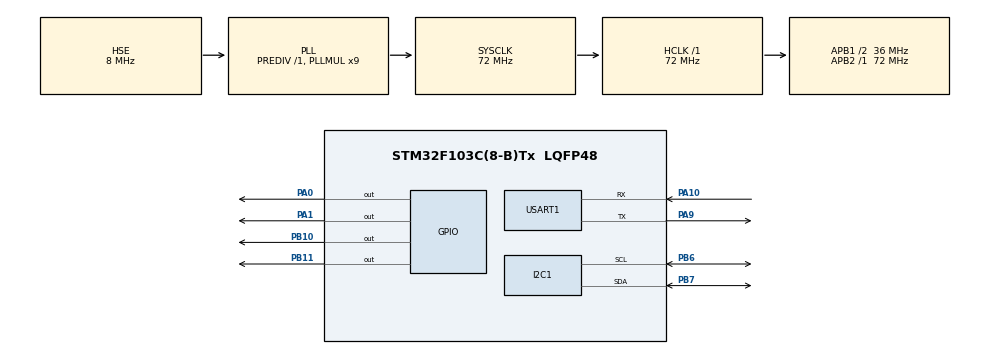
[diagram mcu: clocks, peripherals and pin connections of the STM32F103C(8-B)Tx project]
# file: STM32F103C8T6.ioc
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I2C1.I2C_Mode=I2C_Fast
Mcu.Family=STM32F1
Mcu.Name=STM32F103C(8-B)Tx
Mcu.Package=LQFP48
NVIC.PriorityGroup=NVIC_PRIORITYGROUP_4
NVIC.TIM2_IRQn=true\:0\:0\:false\:false\:true\:true\:true\:true
PA0-WKUP.GPIO_PuPd=GPIO_PULLUP
PA0-WKUP.GPIO_Speed=GPIO_SPEED_FREQ_HIGH
PA0-WKUP.Signal=GPIO_Output
PA1.GPIO_PuPd=GPIO_PULLUP
PA1.GPIO_Speed=GPIO_SPEED_FREQ_HIGH
PA1.Signal=GPIO_Output
PA10.Mode=Asynchronous
PA10.Signal=USART1_RX
PA13.Mode=Serial_Wire
PA13.Signal=SYS_JTMS-SWDIO
PA14.Mode=Serial_Wire
PA14.Signal=SYS_JTCK-SWCLK
PA9.Mode=Asynchronous
PA9.Signal=USART1_TX
PB10.GPIO_Speed=GPIO_SPEED_FREQ_HIGH
PB10.Signal=GPIO_Output
PB11.GPIO_Speed=GPIO_SPEED_FREQ_HIGH
PB11.Signal=GPIO_Output
PB6.Mode=I2C
PB6.Signal=I2C1_SCL
PB7.Mode=I2C
PB7.Signal=I2C1_SDA
PD0-OSC_IN.Mode=HSE-External-Oscillator
PD0-OSC_IN.Signal=RCC_OSC_IN
PD1-OSC_OUT.Mode=HSE-External-Oscillator
PD1-OSC_OUT.Signal=RCC_OSC_OUT
ProjectManager.HeapSize=0x200
ProjectManager.StackSize=0x400
ProjectManager.TargetToolchain=STM32CubeIDE
RCC.AHBFreq_Value=72000000
RCC.APB1CLKDivider=RCC_HCLK_DIV2
RCC.APB1Freq_Value=36000000
RCC.APB1TimFreq_Value=72000000
RCC.APB2Freq_Value=72000000
RCC.APB2TimFreq_Value=72000000
RCC.HCLKFreq_Value=72000000
RCC.PLLMUL=RCC_PLL_MUL9
RCC.PLLSourceVirtual=RCC_PLLSOURCE_HSE
RCC.SYSCLKFreq_VALUE=72000000
RCC.SYSCLKSource=RCC_SYSCLKSOURCE_PLLCLK
RCC.USBFreq_Value=72000000
TIM2.AutoReloadPreload=TIM_AUTORELOAD_PRELOAD_ENABLE
TIM2.Period=10000 - 1
TIM2.Prescaler=72-1
USART1.VirtualMode=VM_ASYNC
VP_TIM2_VS_ClockSourceINT.Mode=Internal
VP_TIM4_VS_ClockSourceINT.Mode=Internal
board=custom

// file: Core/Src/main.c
/* USER CODE BEGIN Header */
/**
  ******************************************************************************
  * @file           : main.c
  * @brief          : Main program body
  ******************************************************************************
  * @attention
  *
  * Copyright (c) 2025 STMicroelectronics.
  * All rights reserved.
  *
  * This software is licensed under terms that can be found in the LICENSE file
  * in the root directory of this software component.
  * If no LICENSE file comes with this software, it is provided AS-IS.
  *
  ******************************************************************************
  */
/* USER CODE END Header */
#include "main.h"
#include "i2c.h"
#include "tim.h"
#include "usart.h"
#include "gpio.h"

/* USER CODE BEGIN Includes */
#include "HAl_Add.h"
#include "MPU6050.h"
#include "OLED.h"
/* USER CODE END Includes */

/* USER CODE BEGIN PV */
MPU6050 MM;
/* USER CODE END PV */

void SystemClock_Config(void);
/* USER CODE BEGIN PFP */
void HAL_TIM_PeriodElapsedCallback(TIM_HandleTypeDef *htim)
{
  if (htim->Instance == TIM2)
  {
	  MPU6050_Get_Angle(&MM);
	  //MPU6050_Get_Angle_Plus(&MM);
  }
}

/* USER CODE END PFP */

int main(void)
{

  /* MCU Configuration--------------------------------------------------------*/

  /* Reset of all peripherals, Initializes the Flash interface and the Systick. */
  HAL_Init();

  /* Configure the system clock */
  SystemClock_Config();

  /* USER CODE BEGIN SysInit */
  uint32_t speed = 0;
  /* USER CODE END SysInit */

  /* Initialize all configured peripherals */
  MX_GPIO_Init();
  MX_I2C1_Init();
  MX_TIM2_Init();
  MX_TIM4_Init();
  MX_USART1_UART_Init();
  /* USER CODE BEGIN 2 */
  OLED_Init(GPIOB,GPIO_PIN_11,GPIO_PIN_10,1);
  MPU6050_init(&hi2c1);
  HAL_TIM_Base_Start_IT(&htim2);
  /* USER CODE END 2 */

  /* Infinite loop */
  /* USER CODE BEGIN WHILE */
  while (1)
  {
	  OLED_Clear();
	  TIM_Speed_Check_Start(&htim4);
	  /*
	  OLED_Printf(0,0,6,"pitch:%.2f",MM.pitch);
	  OLED_Printf(0,8,6,"roll:%.2f",MM.roll);
	  OLED_Printf(0,16,6,"yaw:%.2f",MM.yaw);
	  OLED_Printf(0,26,6,"%d",speed);
	  */
	  OLED_Printf(0,26,6,"%d",speed);
	  printf("%.3f,%.3f,%.3f\n",MM.roll-2,MM.pitch+2,MM.yaw);

	  OLED_Update();
	  //HAL_Delay(10);
	  TIM_Speed_Check_Stop(&htim4,&speed);
    /* USER CODE END WHILE */

  }
}

void SystemClock_Config(void)
{
  RCC_OscInitTypeDef RCC_OscInitStruct = {0};
  RCC_ClkInitTypeDef RCC_ClkInitStruct = {0};

  /** Initializes the RCC Oscillators according to the specified parameters
  * in the RCC_OscInitTypeDef structure.
  */
  RCC_OscInitStruct.OscillatorType = RCC_OSCILLATORTYPE_HSE;
  RCC_OscInitStruct.HSEState = RCC_HSE_ON;
  RCC_OscInitStruct.HSEPredivValue = RCC_HSE_PREDIV_DIV1;
  RCC_OscInitStruct.HSIState = RCC_HSI_ON;
  RCC_OscInitStruct.PLL.PLLState = RCC_PLL_ON;
  RCC_OscInitStruct.PLL.PLLSource = RCC_PLLSOURCE_HSE;
  RCC_OscInitStruct.PLL.PLLMUL = RCC_PLL_MUL9;
  if (HAL_RCC_OscConfig(&RCC_OscInitStruct) != HAL_OK)
  {
    Error_Handler();
  }

  /** Initializes the CPU, AHB and APB buses clocks
  */
  RCC_ClkInitStruct.ClockType = RCC_CLOCKTYPE_HCLK|RCC_CLOCKTYPE_SYSCLK
                              |RCC_CLOCKTYPE_PCLK1|RCC_CLOCKTYPE_PCLK2;
  RCC_ClkInitStruct.SYSCLKSource = RCC_SYSCLKSOURCE_PLLCLK;
  RCC_ClkInitStruct.AHBCLKDivider = RCC_SYSCLK_DIV1;
  RCC_ClkInitStruct.APB1CLKDivider = RCC_HCLK_DIV2;
  RCC_ClkInitStruct.APB2CLKDivider = RCC_HCLK_DIV1;

  if (HAL_RCC_ClockConfig(&RCC_ClkInitStruct, FLASH_LATENCY_2) != HAL_OK)
  {
    Error_Handler();
  }
}

void Error_Handler(void)
{
  __disable_irq();
  while (1)
  {
  }
}
